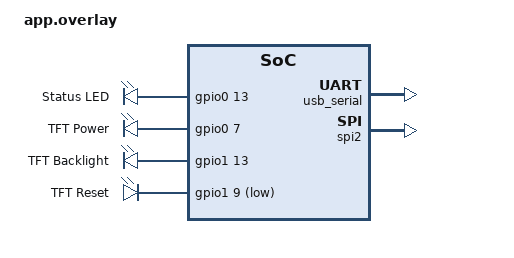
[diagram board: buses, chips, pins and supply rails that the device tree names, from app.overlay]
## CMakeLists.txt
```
cmake_minimum_required(VERSION 3.20.0)
find_package(Zephyr REQUIRED HINTS $ENV{ZEPHYR_BASE})
project(dual_core_tasks)

target_sources(app PRIVATE src/main.c)
```

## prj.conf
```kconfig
CONFIG_LOG=y
CONFIG_GPIO=y
CONFIG_EVENTS=y
CONFIG_MINIMAL_LIBC=y
# SMP is not currently supported for ESP32-S3 in Zephyr 3.7.0
# CONFIG_SMP=y
# CONFIG_MP_MAX_NUM_CPUS=2
# CONFIG_SCHED_CPU_MASK=y

# Enable USB Serial/JTAG Console

CONFIG_UART_CONSOLE=y
CONFIG_CONSOLE=y
CONFIG_LOG_MODE_IMMEDIATE=y

CONFIG_SPI=y
# Disable display stack for sanity-check build
CONFIG_DISPLAY=n
CONFIG_MIPI_DBI=n
CONFIG_ST7789V=n
CONFIG_HEAP_MEM_POOL_SIZE=16384
# CONFIG_CHARACTER_FRAMEBUFFER=y
```

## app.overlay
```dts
/* zephyr_app/boards/esp32s3_devkitm.overlay */

#include <zephyr/dt-bindings/gpio/gpio.h>
#include <zephyr/dt-bindings/spi/spi.h>
#include <zephyr/dt-bindings/pinctrl/esp-pinctrl-common.h>
#include <zephyr/dt-bindings/pinctrl/esp32s3-pinctrl.h>
#include <zephyr/dt-bindings/pinctrl/esp32s3-gpio-sigmap.h>
#include <zephyr/dt-bindings/mipi_dbi/mipi_dbi.h>

/ {

	chosen {
		zephyr,console = &usb_serial;
		zephyr,shell-uart = &usb_serial;
	};

	aliases {
		led0 = &led0;
        display0 = &st7789v;
	};

	leds {
		compatible = "gpio-leds";
		led0: led_0 {
			gpios = <&gpio0 13 GPIO_ACTIVE_HIGH>;
			label = "Status LED";
		};
        
        tft_power: tft_power {
            gpios = <&gpio0 7 GPIO_ACTIVE_HIGH>;
            label = "TFT Power";
        };
        
        tft_backlight: tft_backlight {
            gpios = <&gpio1 13 GPIO_ACTIVE_HIGH>;
            label = "TFT Backlight";
        };
        
        tft_rst: tft_rst {
            gpios = <&gpio1 9 GPIO_ACTIVE_LOW>;
            label = "TFT Reset";
        };
	};
};

&usb_serial {
	status = "okay";
};

&pinctrl {
	spim2_default: spim2_default {
		group1 {
			pinmux = <ESP32_PINMUX(36, ESP_NOSIG, ESP_SPICLK_OUT)>,
				     <ESP32_PINMUX(35, ESP_NOSIG, ESP_SPID_OUT)>;
		};
	};
};

&spi2 {
	status = "okay";
	pinctrl-0 = <&spim2_default>;
	pinctrl-names = "default";
    cs-gpios = <&gpio1 10 GPIO_ACTIVE_LOW>;

    mipi_dbi_spi: mipi_dbi_spi@0 {
        status = "disabled";
        compatible = "zephyr,mipi-dbi-spi";
        reg = <0>;
        spi-dev = <&spi2>;
        /* Mode 0: CPOL=0, CPHA=0 */
        dc-gpios = <&gpio1 8 GPIO_ACTIVE_HIGH>;
        reset-gpios = <&gpio1 9 GPIO_ACTIVE_LOW>;
        write-only;
        #address-cells = <1>;
        #size-cells = <0>;

        st7789v: st7789v@0 {
            compatible = "sitronix,st7789v";
            reg = <0>;
            mipi-max-frequency = <1000000>;
            width = <240>;
            height = <135>;
            x-offset = <40>;
            y-offset = <53>;
            
            /* Reset handled by mipi_dbi_spi */

            /* ESP-IDF: esp_lcd_panel_invert_color(true) */
            /* inversion-on; Not supported by binding? */

            /* ESP-IDF: swap_xy(true), mirror(true, false) -> MV=1, MX=1, MY=0 */
            /* 0x60 = 0110 0000 (RGB) */
            mdac = <0x60>;
            
            /* Gamma and other params from previous working config or default */
            vcom = <0x28>;
            gctrl = <0x35>;
            vrhs = <0x10>;
            vdvs = <0x20>;
            colmod = <0x55>;
            lcm = <0x0c>;
            gamma = <0x01>;
            porch-param = [0c 0c 00 33 33];
            cmd2en-param = [5a 69 02 01];
            pwctrl1-param = [a4 a1];
            pvgam-param = [D0 00 02 07 0A 28 32 44 42 06 0E 12 14 17];
            nvgam-param = [D0 00 02 07 0A 28 31 54 47 0E 1C 17 1B 1E];
            ram-param = [00 E0];
            rgb-param = [40 02 14];
            mipi-mode = <MIPI_DBI_MODE_SPI_4WIRE>;
        };
    };
};
```

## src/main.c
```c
/* Minimal sanity check application: blink the status LED and log */

#include <zephyr/kernel.h>
#include <zephyr/logging/log.h>
#include <zephyr/drivers/gpio.h>

LOG_MODULE_REGISTER(main);

static const struct gpio_dt_spec led = GPIO_DT_SPEC_GET(DT_ALIAS(led0), gpios);

int main(void) {
    k_msleep(2000); /* allow USB serial to enumerate */

    LOG_INF("Starting Sanity Check App");

    if (!gpio_is_ready_dt(&led)) {
        LOG_ERR("LED not ready");
        return 0;
    }
    gpio_pin_configure_dt(&led, GPIO_OUTPUT_ACTIVE);

    while (1) {
        gpio_pin_toggle_dt(&led);
        LOG_INF("Blink");
        k_msleep(1000);
    }

    return 0;
}
```
